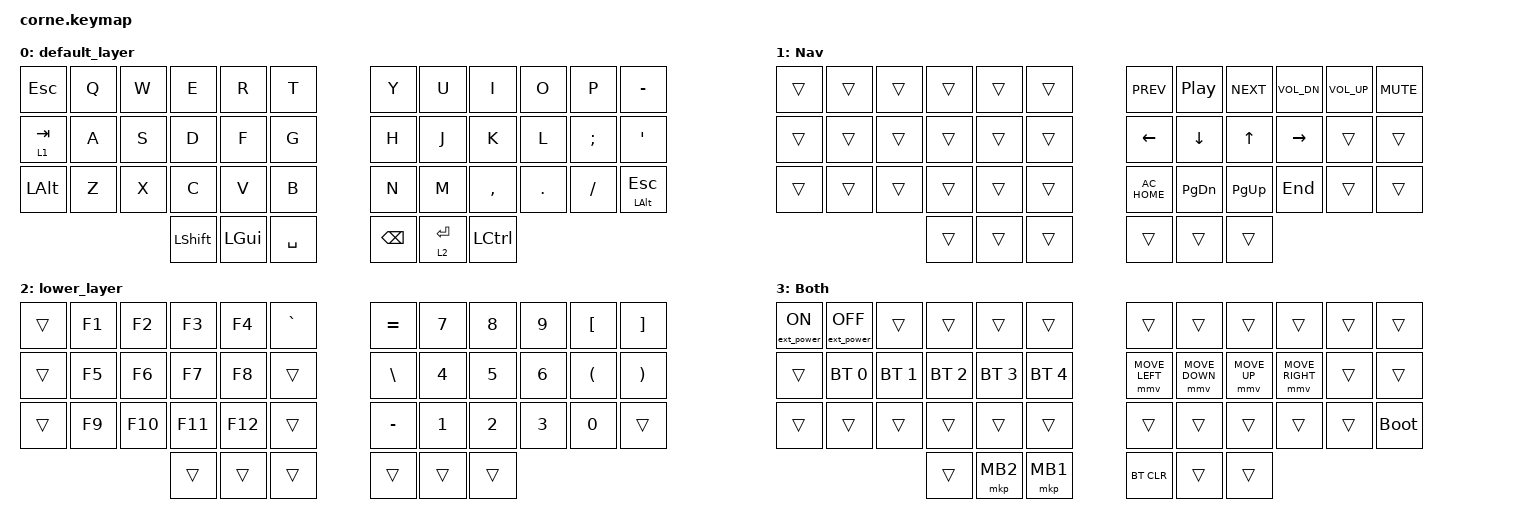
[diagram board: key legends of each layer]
/*
* Copyright (c) 2020 The ZMK Contributors
*
* SPDX-License-Identifier: MIT
*/

#include <behaviors.dtsi>
#include <dt-bindings/zmk/bt.h>
#include <dt-bindings/zmk/ext_power.h>
#include <dt-bindings/zmk/keys.h>
#include <dt-bindings/zmk/pointing.h>

/ {
    macros {
        spotlight: spotlight {
            compatible = "zmk,behavior-macro";
            #binding-cells = <0>;
            bindings = <&kp LG(SPACE)>;
            label = "SPOTLIGHT";
        };

        superglide: superglide {
            compatible = "zmk,behavior-macro";
            #binding-cells = <0>;
            bindings = <&kp SPACE>, <&macro_wait_time 7>, <&kp LCTRL>;

            label = "SUPERGLIDE";
        };
    };

    keymap {
        compatible = "zmk,keymap";

        default_layer {
            bindings = <
&kp ESC       &kp Q  &kp W  &kp E           &kp R     &kp T        &kp Y     &kp U        &kp I             &kp O    &kp P     &kp MINUS
&lt 1 TAB     &kp A  &kp S  &kp D           &kp F     &kp G        &kp H     &kp J        &kp K             &kp L    &kp SEMI  &kp SQT
&kp LEFT_ALT  &kp Z  &kp X  &kp C           &kp V     &kp B        &kp N     &kp M        &kp COMMA         &kp DOT  &kp FSLH  &mt LEFT_ALT ESC
                            &kp LEFT_SHIFT  &kp LGUI  &kp SPACE    &kp BSPC  &lt 2 ENTER  &kp LEFT_CONTROL
            >;
        };

        Nav {
            bindings = <
&trans  &trans  &trans  &trans  &trans  &trans    &kp C_PREV     &kp C_PLAY_PAUSE  &kp C_NEXT   &kp C_VOL_DN  &kp C_VOL_UP  &kp K_MUTE
&trans  &trans  &trans  &trans  &trans  &trans    &kp LEFT       &kp DOWN          &kp UP       &kp RIGHT     &trans        &trans
&trans  &trans  &trans  &trans  &trans  &trans    &kp C_AC_HOME  &kp PAGE_DOWN     &kp PAGE_UP  &kp END       &trans        &trans
                        &trans  &trans  &trans    &trans         &trans            &trans
            >;
        };

        lower_layer {
            bindings = <
&trans  &kp F1  &kp F2   &kp F3   &kp F4   &kp GRAVE    &kp EQUAL      &kp N7        &kp N8        &kp N9        &kp LEFT_BRACKET      &kp RIGHT_BRACKET
&trans  &kp F5  &kp F6   &kp F7   &kp F8   &trans       &kp BACKSLASH  &kp NUMBER_4  &kp N5        &kp NUMBER_6  &kp LEFT_PARENTHESIS  &kp RIGHT_PARENTHESIS
&trans  &kp F9  &kp F10  &kp F11  &kp F12  &trans       &kp MINUS      &kp N1        &kp NUMBER_2  &kp N3        &kp N0                &trans
                         &trans   &trans   &trans       &trans         &trans        &trans
            >;
        };

        Both {
            bindings = <
&ext_power EP_ON  &ext_power EP_OFF  &trans        &trans        &trans        &trans          &trans          &trans          &trans        &trans           &trans  &trans
&trans            &bt BT_SEL 0       &bt BT_SEL 1  &bt BT_SEL 2  &bt BT_SEL 3  &bt BT_SEL 4    &mmv MOVE_LEFT  &mmv MOVE_DOWN  &mmv MOVE_UP  &mmv MOVE_RIGHT  &trans  &trans
&trans            &trans             &trans        &trans        &trans        &trans          &trans          &trans          &trans        &trans           &trans  &bootloader
                                                   &trans        &mkp MB2      &mkp MB1        &bt BT_CLR      &trans          &trans
            >;
        };
    };

    conditional_layers {
        compatible = "zmk,conditional-layers";

        combo {
            if-layers = <1 2>;
            then-layer = <3>;
        };
    };
};
